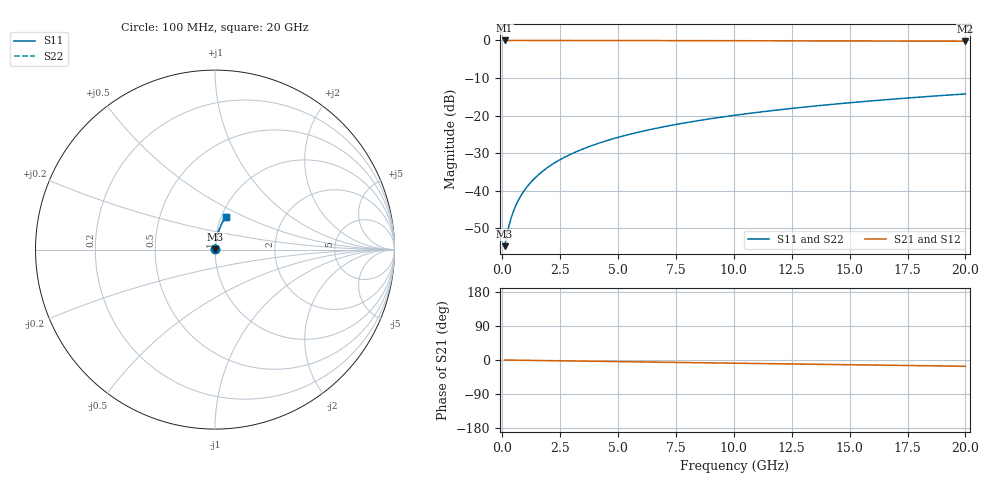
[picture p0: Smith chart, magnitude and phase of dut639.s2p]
! Touchstone file exported from HFSS 2026.1.0
!  File:  C:/ffzhzh/LocalFiles/Ansys_Project_Files/temp_train_TMRDL_639_1783009330_55676.aedt
!  Generated:  12:23:29 AM Jul  3, 2026
!  Design:  TMRDL
!  Project:  temp_train_TMRDL_639_1783009330_55676
! Variables:
!  h_bsmrdl = 2um
!  h_ox = 20um
!  h_rdl = 5um
!  h_sub = 80um
!  h_tmrdl = 4.42um
!  h_tsv = 80um
!  h_via = 3um
!  l_bsmrdl = 300um
!  l_sub = 593.52um
!  l_tmrdl = 193.52um
!  m_sub = 200um
!  pitch = 39.16um
!  r_tsv = 6um
!  s_tmrdl = 10um
!  w_bsmrdl = 18um
!  w_sub = 500um
!  w_tmrdl = 11.36um
!  x_tsv_center1 = 199.2um
!  x_tsv_center2 = 517.2um
!  x_tsv_center3 = 722.08um
!  x_tsv_center4 = 1040.08um
!  x_tsv_center5 = 1244.96um
!  x_tsv_center6 = 1562.96um
# GHz S MA R 50.000000
! Terminal data exported
! Port[1] = TM_RDL1_1_T1
! Port[2] = TM_RDL1_1_T2
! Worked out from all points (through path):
!   200 points, 100 MHz to 20 GHz, reference 50 ohm
!   highest |S21| = -0.01 dB at 100 MHz (marker M1); lowest = -0.2 dB at 20 GHz (marker M2)
!   group delay of S21, straight-line fit = 2.3 ps
!   lowest |S11| = -54.8 dB at 100 MHz (marker M3), VSWR 1.00, Z = 50.1 + j0.108 ohm
!   |S11| at or under -10 dB: start of sweep to end of sweep
!   |S22| runs from -54.8 to -14.2 dB; largest |S21 - S12| = 3.1e-15
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0.1  0.00183 36.1  0.9985 -0.1  0.9985 -0.1  0.00183 36.1
! Gamma 0 0 0 0
! Port Impedance 50 0 50 0
0.2  0.002622 54.9  0.9985 -0.2  0.9985 -0.2  0.002622 54.9
0.3  0.003553 64.2  0.9985 -0.3  0.9985 -0.3  0.003553 64.2
0.4  0.004528 69.5  0.9984 -0.4  0.9984 -0.4  0.004528 69.5
0.5  0.00552 72.8  0.9984 -0.4  0.9984 -0.4  0.00552 72.8
0.6  0.006522 75.2  0.9984 -0.5  0.9984 -0.5  0.006523 75.2
0.8  0.008543 78.2  0.9983 -0.7  0.9983 -0.7  0.008543 78.2
1.1  0.0116 80.6  0.9982 -1.0  0.9982 -1.0  0.0116 80.6
1.5  0.0157 82.3  0.9981 -1.3  0.9981 -1.3  0.0157 82.3
1.8  0.01877 82.9  0.998 -1.6  0.998 -1.6  0.01877 82.9
2.1  0.02185 83.3  0.9979 -1.8  0.9979 -1.8  0.02185 83.3
2.7  0.028 83.6  0.9976 -2.3  0.9976 -2.3  0.028 83.6
3.5  0.03616 83.5  0.9972 -3.0  0.9972 -3.0  0.03616 83.5
4.2  0.04326 83.3  0.9967 -3.6  0.9967 -3.6  0.04326 83.3
5  0.05132 82.8  0.9961 -4.3  0.9961 -4.3  0.05132 82.8
5.9  0.06033 82.2  0.9953 -5.0  0.9953 -5.0  0.06033 82.2
6.8  0.06926 81.6  0.9945 -5.8  0.9945 -5.8  0.06926 81.6
8.3  0.08402 80.5  0.9929 -7.0  0.9929 -7.0  0.08402 80.5
10.1  0.1015 79.2  0.9908 -8.5  0.9908 -8.5  0.1015 79.2
13.4  0.1331 76.7  0.9864 -11.2  0.9864 -11.2  0.1331 76.7
16.7  0.1639 74.3  0.9812 -13.9  0.9812 -13.9  0.1639 74.3
20  0.1941 71.8  0.9753 -16.5  0.9753 -16.5  0.1941 71.8
